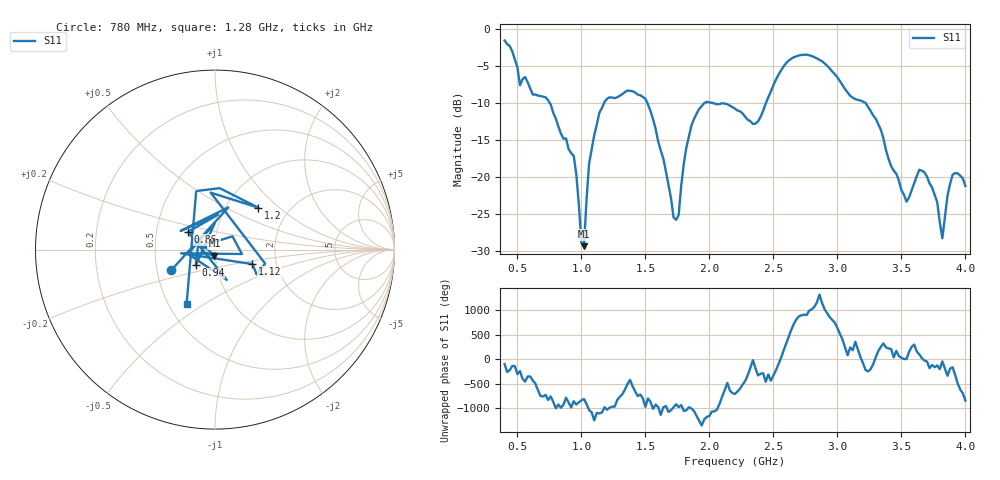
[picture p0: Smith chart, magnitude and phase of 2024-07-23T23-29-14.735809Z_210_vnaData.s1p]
!Created with skrf (http://scikit-rf.org).
# Hz S RI R 50.0
!freq ReS11 ImS11
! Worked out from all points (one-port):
!   181 points, 400 MHz to 4 GHz, reference 50 ohm
!   lowest |S11| = -29.4 dB at 1.02 GHz (marker M1), VSWR 1.07, Z = 49.6 - j3.34 ohm
!   |S11| at or under -10 dB: 1.514 GHz to 1.968 GHz (454.2 MHz wide, 26.1 % of centre); 2.007 GHz to 2.443 GHz (436.1 MHz wide, 19.6 % of centre); 3.215 GHz to end of sweep (the widest 3 of 4)
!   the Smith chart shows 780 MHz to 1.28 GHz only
!   S11 on the Smith chart (normalised r, x): 780 MHz: 0.59, -0.15; 860 MHz: 0.73, +0.15; 940 MHz: 0.80, -0.14; 1.12 GHz: 1.50, -0.25; 1.2 GHz: 1.41, +0.74; 1.28 GHz: 0.62, -0.42
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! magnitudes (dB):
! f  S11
! 400 MHz  -1.6
! 520 MHz  -7.7
! 780 MHz  -11.4
! 860 MHz  -14.9
! 940 MHz  -17.2
! 1 GHz  -28.9
! 1.02 GHz  -29.4
! 1.06 GHz  -18.3
! 1.12 GHz  -13.0
! 1.2 GHz  -9.5
! 1.28 GHz  -9.3
! 1.3 GHz  -9.1
! 1.5 GHz  -9.5
! 1.72 GHz  -25.5
! 1.76 GHz  -25.2
! 1.82 GHz  -16.1
! 1.9 GHz  -11.5
! 2.2 GHz  -10.8
! 2.36 GHz  -12.9
! 2.66 GHz  -3.9
! 3.1 GHz  -9.1
! 3.3 GHz  -12.2
! 3.56 GHz  -22.8
! 3.68 GHz  -19.4
! 3.78 GHz  -23.4
! 3.82 GHz  -28.3
! 3.9 GHz  -19.8
! 4 GHz  -21.3
